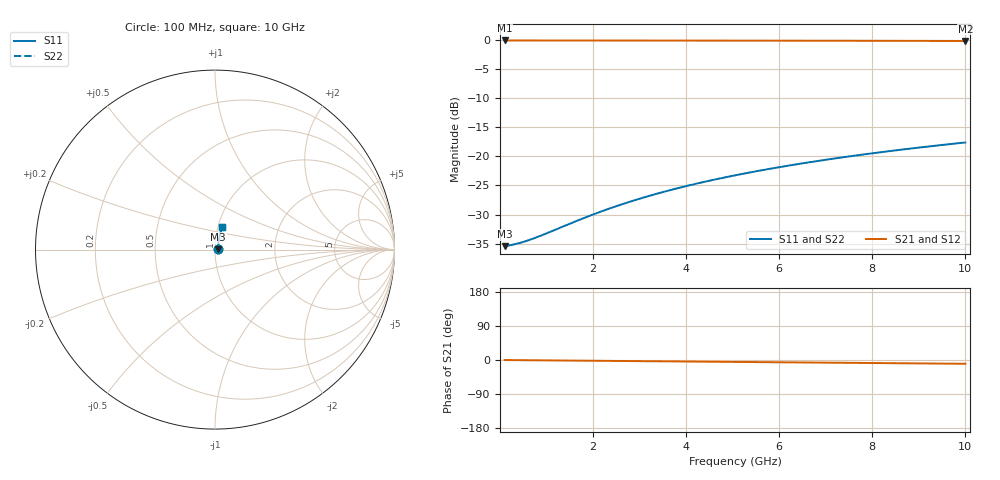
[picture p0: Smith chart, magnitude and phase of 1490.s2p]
# Hz S RI R 50.00
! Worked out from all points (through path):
!   100 points, 100 MHz to 10 GHz, reference 50 ohm
!   highest |S21| = -0.15 dB at 100 MHz (marker M1); lowest = -0.2 dB at 10 GHz (marker M2)
!   group delay of S21, straight-line fit = 2.77 ps
!   lowest |S11| = -35.4 dB at 100 MHz (marker M3), VSWR 1.03, Z = 51.7 + j0.133 ohm
!   |S11| at or under -10 dB: start of sweep to end of sweep
!   |S22| runs from -35.4 to -17.6 dB; largest |S21 - S12| = 0
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1e8  0.0169 0.00129  0.9831 -0.00172  0.9831 -0.00172  0.0169 0.00129
3e8  0.0171 0.00385  0.9829 -0.00515  0.9829 -0.00515  0.0171 0.00385
4e8  0.0172 0.00514  0.9828 -0.00687  0.9828 -0.00687  0.0172 0.00514
5e8  0.0173 0.00642  0.9827 -0.00859  0.9827 -0.00859  0.0173 0.00642
7e8  0.0174 0.00899  0.9826 -0.012  0.9826 -0.012  0.0174 0.00899
1e9  0.0176 0.0128  0.9824 -0.0172  0.9824 -0.0172  0.0176 0.0128
1.8e9  0.0183 0.0231  0.9816 -0.0309  0.9816 -0.0309  0.0183 0.0231
2.2e9  0.0188 0.0282  0.9812 -0.0377  0.9812 -0.0377  0.0188 0.0282
2.6e9  0.0193 0.0333  0.9807 -0.0446  0.9807 -0.0446  0.0193 0.0333
3e9  0.0198 0.0384  0.9801 -0.0514  0.9801 -0.0514  0.0198 0.0384
3.4e9  0.0205 0.0435  0.9794 -0.0582  0.9794 -0.0582  0.0205 0.0435
3.8e9  0.0212 0.0485  0.9787 -0.065  0.9787 -0.065  0.0212 0.0485
4.2e9  0.0219 0.0536  0.9779 -0.0718  0.9779 -0.0718  0.0219 0.0536
4.6e9  0.0227 0.0586  0.977 -0.0786  0.977 -0.0786  0.0227 0.0586
5.1e9  0.0239 0.0649  0.9759 -0.0871  0.9759 -0.0871  0.0239 0.0649
5.5e9  0.0249 0.0699  0.9748 -0.0938  0.9748 -0.0938  0.0249 0.0699
5.9e9  0.0259 0.0749  0.9737 -0.1005  0.9737 -0.1005  0.0259 0.0749
6.7e9  0.0282 0.0849  0.9713 -0.1139  0.9713 -0.1139  0.0282 0.0849
7.5e9  0.0308 0.0947  0.9686 -0.1272  0.9686 -0.1272  0.0308 0.0947
8.4e9  0.034 0.1057  0.9653 -0.1421  0.9653 -0.1421  0.034 0.1057
9.2e9  0.0371 0.1153  0.962 -0.1552  0.962 -0.1552  0.0371 0.1153
1e10  0.0405 0.1248  0.9585 -0.1682  0.9585 -0.1682  0.0405 0.1248
